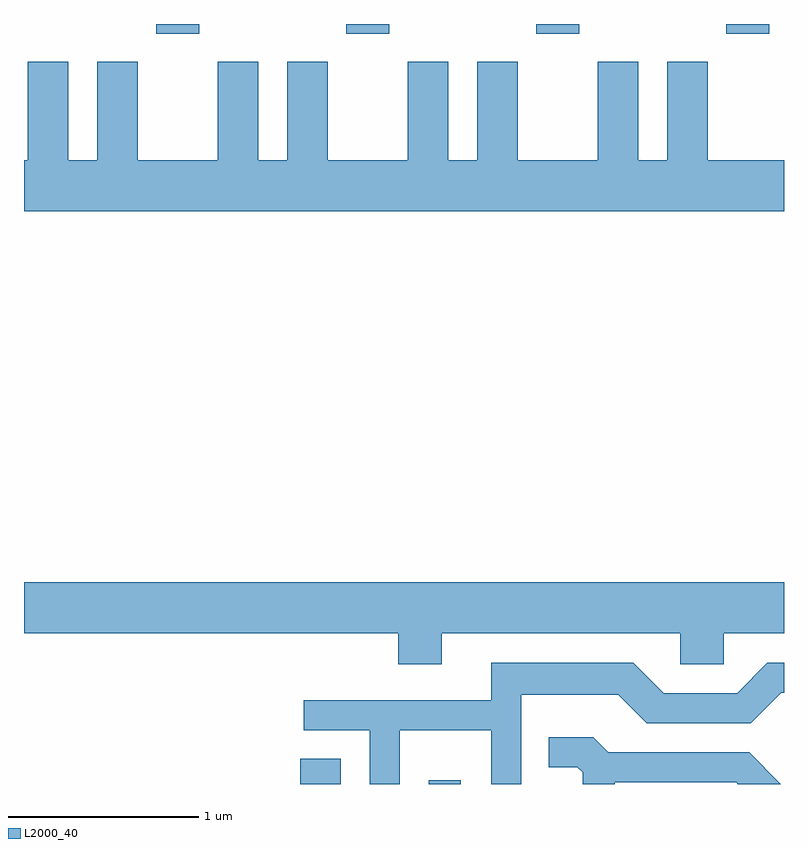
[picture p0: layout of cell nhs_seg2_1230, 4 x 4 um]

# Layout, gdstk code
import gdstk
lib = gdstk.Library(unit=1e-6, precision=1e-09)
def R(c, l, rs):  # rectangles x0, y0, x1, y1
    for r in rs: c.add(gdstk.rectangle(r[:2], r[2:], *l))
def A(c, l, x, y, w, h, nx, ny, dx, dy):  # array of equal rectangles
    R(c, l, [(x+i*dx, y+j*dy, x+i*dx+w, y+j*dy+h) for i in range(nx) for j in range(ny)])
def P(c, l, *ps):  # polygons
    for p in ps: c.add(gdstk.Polygon(p, *l))
L2000_40 = (2000, 40)

nhs_seg2_1230 = lib.new_cell('nhs_seg2_1230')
A(nhs_seg2_1230, L2000_40, 222.306, 993.751, 0.228, 0.051, 4, 1, 1, 0)
R(nhs_seg2_1230, L2000_40, [(223.066,989.802,223.279,989.934), (223.741,989.802,223.909,989.823)])
P(nhs_seg2_1230, L2000_40, [(225.611,993.084),(225.209,993.084),(225.209,993.604),(224.996,993.604),(224.996,993.084),(224.844,993.084),(224.844,993.604),(224.631,993.604),(224.631,993.084),(224.209,993.084),(224.209,993.604),(223.996,993.604),(223.996,993.084),(223.844,993.084),(223.844,993.604),(223.631,993.604),(223.631,993.084),(223.209,993.084),(223.209,993.604),(222.996,993.604),(222.996,993.084),(222.844,993.084),(222.844,993.604),(222.631,993.604),(222.631,993.084),(222.209,993.084),(222.209,993.604),(221.996,993.604),(221.996,993.084),(221.844,993.084),(221.844,993.604),(221.631,993.604),(221.631,993.084),(221.611,993.084),(221.611,992.816),(225.611,992.816)],
  [(223.809,990.596),(225.066,990.596),(225.066,990.431),(225.294,990.431),(225.294,990.596),(225.611,990.596),(225.611,990.864),(221.611,990.864),(221.611,990.596),(223.581,990.596),(223.581,990.431),(223.809,990.431)],
  [(223.589,990.086),(224.071,990.086),(224.071,989.802),(224.229,989.802),(224.229,990.271),(224.739,990.271),(224.889,990.121),(225.437,990.121),(225.597,990.281),(225.611,990.281),(225.611,990.439),(225.524,990.439),(225.364,990.279),(224.977,990.279),(224.817,990.439),(224.071,990.439),(224.071,990.244),(223.083,990.244),(223.083,990.086),(223.431,990.086),(223.431,989.802),(223.589,989.802)],
  [(224.719,989.811),(225.359,989.811),(225.368,989.802),(225.594,989.802),(225.427,989.969),(224.687,989.969),(224.607,990.049),(224.373,990.049),(224.373,989.891),(224.524,989.891),(224.551,989.864),(224.551,989.802),(224.719,989.802)])

lib.write_gds('nhs_seg2_1230.gds')
